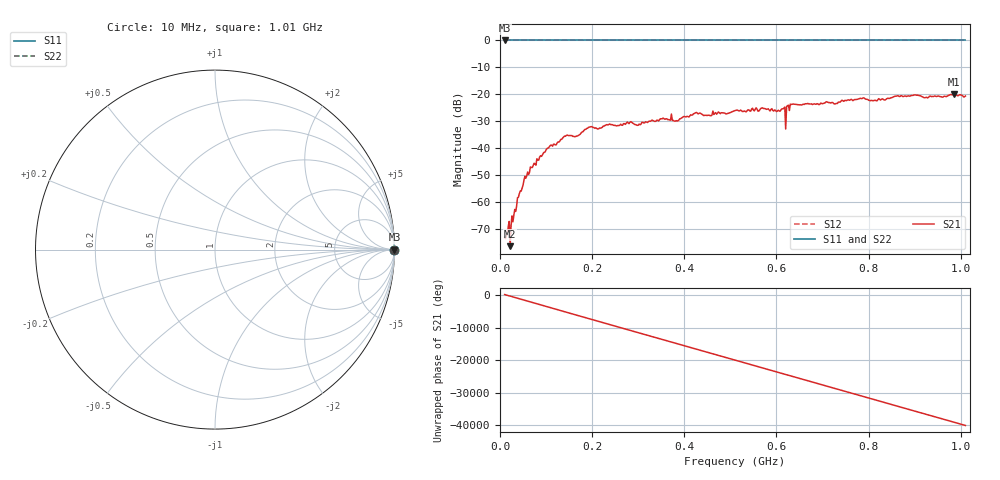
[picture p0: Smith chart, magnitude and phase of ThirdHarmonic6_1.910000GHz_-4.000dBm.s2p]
! 8/16/2025 11:02:24 PM
! C:\ANRITSUVNA\TEMP\TEMP.S2P
! CHANNEL.1
! TR.MEASUREMENT
! RAW.DATA
! RF.CORRECTION.OFF
! AVERAGING.OFF
! IF.BANDWIDTH: 5KHZ
! SWEEPTYPE:  FREQ.SWEEP(Linear)
! Reference Plane Port Info
! PORT:  PORT1  PORT2
! DISTANCE:  0  m  0  m
! TIME:  0  s  0  s
! PHASE.OFFSET:  0  deg.  0  deg.
! LOSS:  0  dB  0  dB
! REF.LOSS:  0  dB  0  dB
! REF.FREQ:  0  Hz  0  Hz
! Power Info
! POWER:  -20  dBm  -20  dBm
! EFF.POWER:  -20  dBm  -20  dBm
! SOURCE.ATTEN:  0  dB  0  dB
! TEST.ATTEN:  0  dB  0  dB
# GHZ S RI R 50.0
! FREQ.GHZ  S11RE  S11IM  S21RE  S21IM  S12RE  S12IM  S22RE  S22IM
!; PortSelection: Port_12
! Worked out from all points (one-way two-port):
!   501 points, 10 MHz to 1.01 GHz, reference 50 ohm
!   highest |S21| = -20.04 dB at 986 MHz (marker M1); lowest = -76.3 dB at 22 MHz (marker M2)
!   lowest |S11| = 0.0 dB at 10 MHz (marker M3)
!   |S11| at or under -10 dB: nowhere
!   |S22| runs from 0.0 to 0.0 dB; largest |S21 - S12| = 1.1
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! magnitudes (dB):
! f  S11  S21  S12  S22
! 10 MHz  0.0  -72.9  0.0  0.0
! 22 MHz  0.0  -76.3  0.0  0.0
! 26 MHz  0.0  -65.0  0.0  0.0
! 28 MHz  0.0  -67.2  0.0  0.0
! 42 MHz  0.0  -56.8  0.0  0.0
! 56 MHz  0.0  -51.1  0.0  0.0
! 70 MHz  0.0  -47.1  0.0  0.0
! 108 MHz  0.0  -39.2  0.0  0.0
! 142 MHz  0.0  -35.5  0.0  0.0
! 178 MHz  0.0  -34.0  0.0  0.0
! 196 MHz  0.0  -32.0  0.0  0.0
! 344 MHz  0.0  -29.8  0.0  0.0
! 382 MHz  0.0  -29.8  0.0  0.0
! 424 MHz  0.0  -26.8  0.0  0.0
! 510 MHz  0.0  -26.0  0.0  0.0
! 614 MHz  0.0  -25.4  0.0  0.0
! 616 MHz  0.0  -25.1  0.0  0.0
! 634 MHz  0.0  -23.7  0.0  0.0
! 678 MHz  0.0  -23.8  0.0  0.0
! 844 MHz  0.0  -21.5  0.0  0.0
! 986 MHz  0.0  -20.0  0.0  0.0
! 1.01 GHz  0.0  -20.6  0.0  0.0
